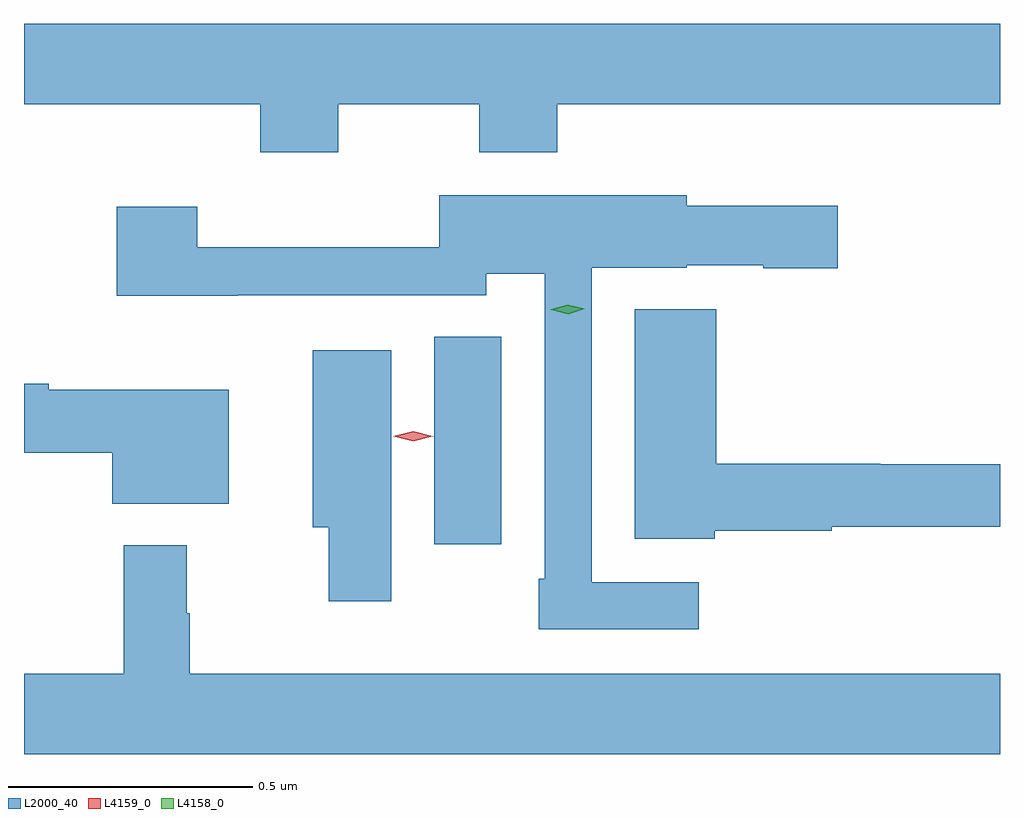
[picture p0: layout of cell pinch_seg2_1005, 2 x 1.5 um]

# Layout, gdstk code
import gdstk
lib = gdstk.Library(unit=1e-6, precision=1e-09)
def R(c, l, rs):  # rectangles x0, y0, x1, y1
    for r in rs: c.add(gdstk.rectangle(r[:2], r[2:], *l))
def P(c, l, *ps):  # polygons
    for p in ps: c.add(gdstk.Polygon(p, *l))
L2000_40 = (2000, 40)
L4158_0 = (4158, 0)
L4159_0 = (4159, 0)

pinch_seg2_1005 = lib.new_cell('pinch_seg2_1005')
R(pinch_seg2_1005, L2000_40, [(244.382,642.738,244.519,643.163)])
P(pinch_seg2_1005, L2000_40, [(244.185,643.64),(244.474,643.64),(244.474,643.541),(244.634,643.541),(244.634,643.64),(245.541,643.64),(245.541,643.804),(243.541,643.804),(243.541,643.64),(244.025,643.64),(244.025,643.541),(244.185,643.541)],
  [(244.924,642.66),(244.704,642.66),(244.704,643.304),(244.899,643.304),(244.899,643.31),(245.056,643.31),(245.056,643.303),(245.209,643.303),(245.209,643.432),(244.899,643.432),(244.899,643.453),(244.392,643.453),(244.392,643.346),(243.896,643.346),(243.896,643.429),(243.731,643.429),(243.731,643.247),(243.979,643.247),(243.979,643.248),(244.488,643.248),(244.488,643.292),(244.608,643.292),(244.608,642.667),(244.596,642.667),(244.596,642.564),(244.924,642.564)],
  [(244.956,642.766),(245.196,642.766),(245.196,642.774),(245.541,642.774),(245.541,642.902),(245.296,642.902),(245.296,642.903),(244.96,642.903),(244.96,643.219),(244.793,643.219),(244.793,642.749),(244.956,642.749)],
  [(244.294,643.135),(244.133,643.135),(244.133,642.773),(244.165,642.773),(244.165,642.621),(244.294,642.621)],
  [(243.961,643.054),(243.592,643.054),(243.592,643.067),(243.541,643.067),(243.541,642.925),(243.722,642.925),(243.722,642.821),(243.961,642.821)],
  [(245.541,642.472),(243.881,642.472),(243.881,642.596),(243.874,642.596),(243.874,642.736),(243.745,642.736),(243.745,642.472),(243.541,642.472),(243.541,642.308),(245.541,642.308)])
P(pinch_seg2_1005, L4158_0, [(244.656,643.209),(244.621,643.218),(244.62,643.218),(244.621,643.219),(244.655,643.229),(244.69,643.22),(244.69,643.22),(244.69,643.22)])
P(pinch_seg2_1005, L4159_0, [(244.339,642.949),(244.298,642.959),(244.298,642.959),(244.298,642.959),(244.339,642.969),(244.379,642.959),(244.38,642.959),(244.379,642.959)])

lib.write_gds('pinch_seg2_1005.gds')
